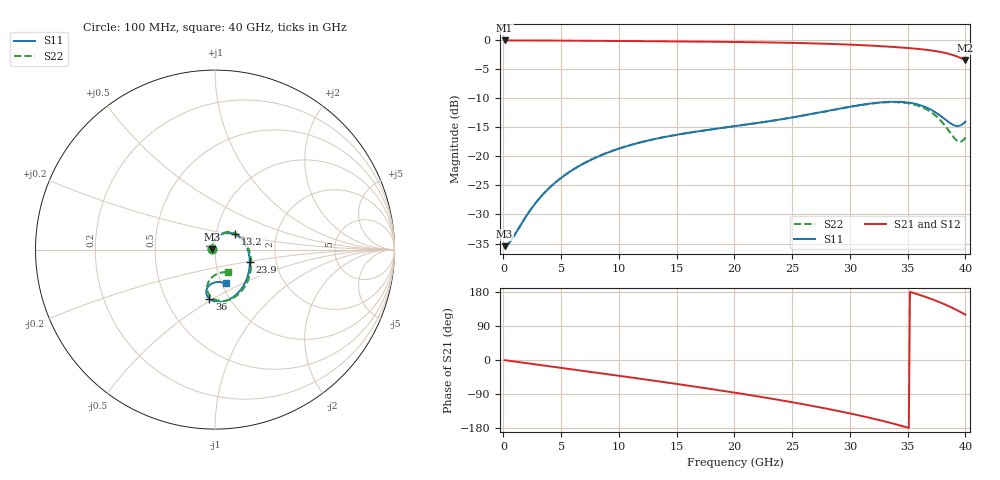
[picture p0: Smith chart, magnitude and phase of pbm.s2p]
! A_s4_d200_ap800: physics-based via model (prototype), ports at the via
# Hz S RI R 50
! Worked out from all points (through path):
!   400 points, 100 MHz to 40 GHz, reference 50 ohm
!   highest |S21| = -0.15 dB at 100 MHz (marker M1); lowest = -3.5 dB at 40 GHz (marker M2)
!   group delay of S21, straight-line fit = 14.9 ps
!   lowest |S11| = -35.4 dB at 100 MHz (marker M3), VSWR 1.03, Z = 48.3 + j0.139 ohm
!   |S11| at or under -10 dB: start of sweep to end of sweep
!   |S22| runs from -35.4 to -10.7 dB; largest |S21 - S12| = 0
!   S11 on the Smith chart (normalised r, x): 100 MHz: 0.97, +0.00; 13.2 GHz: 1.23, +0.21; 23.9 GHz: 1.46, -0.21; 36 GHz: 0.81, -0.48; 40 GHz: 1.04, -0.41
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1e8  -0.0168 0.00144  0.9831 -0.0071  0.9831 -0.0071  -0.0168 0.00143
6e8  -0.0165 0.00859  0.9822 -0.0426  0.9822 -0.0426  -0.0165 0.00855
2.3e9  -0.0113 0.0322  0.969 -0.1624  0.969 -0.1624  -0.0117 0.0322
3.5e9  -0.00413 0.0477  0.9505 -0.2456  0.9505 -0.2456  -0.00504 0.0477
5e9  0.00835 0.0646  0.917 -0.3466  0.917 -0.3466  0.00659 0.0649
6.8e9  0.0277 0.0803  0.8621 -0.4621  0.8621 -0.4621  0.0247 0.0815
9.7e9  0.0651 0.0928  0.7422 -0.6305  0.7422 -0.6305  0.0602 0.0963
1.32e10  0.1126 0.0848  0.5511 -0.7957  0.5511 -0.7957  0.1063 0.0927
1.34e10  0.1152 0.0836  0.5388 -0.8036  0.5388 -0.8036  0.1089 0.0918
1.69e10  0.1554 0.0508  0.3024 -0.9122  0.3024 -0.9122  0.1504 0.0644
2.01e10  0.181 0.00374  0.0572 -0.9522  0.0572 -0.9522  0.1797 0.0219
2.39e10  0.1935 -0.0704  -0.2532 -0.9074  -0.2532 -0.9074  0.1997 -0.049
2.67e10  0.1853 -0.1371  -0.477 -0.797  -0.477 -0.797  0.1987 -0.116
3e10  0.1441 -0.2229  -0.703 -0.5707  -0.703 -0.5707  0.1659 -0.2064
3.34e10  0.0522 -0.2877  -0.8401 -0.2246  -0.8401 -0.2246  0.0763 -0.2803
3.48e10  0.00455 -0.2902  -0.8489 -0.0499  -0.8489 -0.0499  0.025 -0.2856
3.6e10  -0.0311 -0.2739  -0.8223 0.1132  -0.8223 0.1132  -0.0167 -0.2686
3.71e10  -0.0486 -0.2433  -0.7593 0.2694  -0.7593 0.2694  -0.0413 -0.2323
3.81e10  -0.0401 -0.2084  -0.6582 0.4076  -0.6582 0.4076  -0.0383 -0.1855
3.93e10  0.0117 -0.181  -0.4692 0.5394  -0.4692 0.5394  0.0152 -0.1343
3.97e10  0.038 -0.1825  -0.3907 0.5661  -0.3907 0.5661  0.0459 -0.1262
4e10  0.0591 -0.1888  -0.3282 0.578  -0.3282 0.578  0.072 -0.1255
